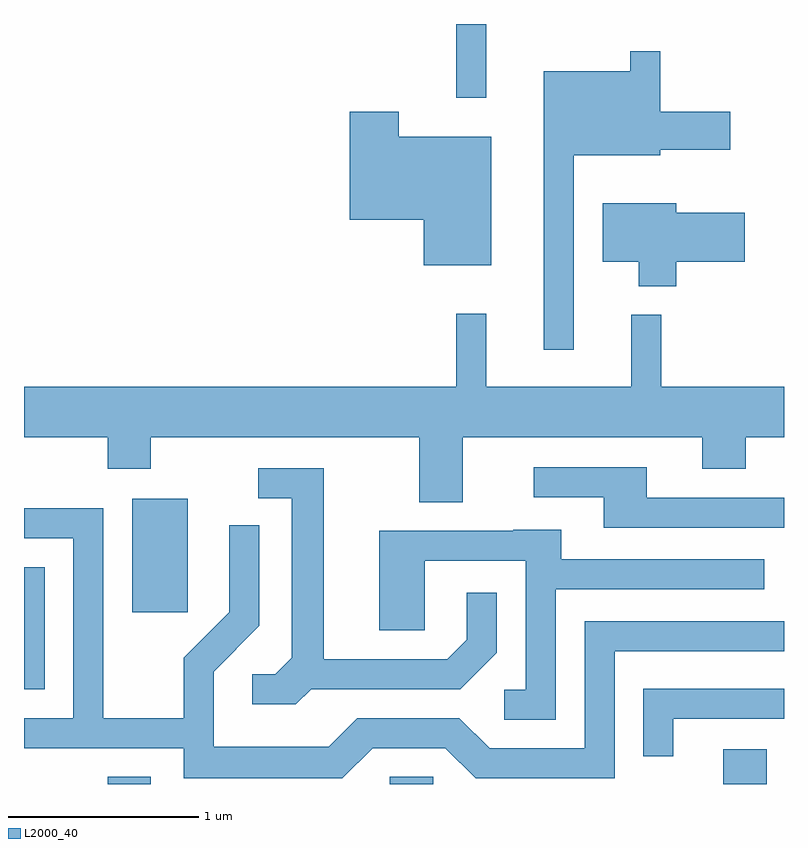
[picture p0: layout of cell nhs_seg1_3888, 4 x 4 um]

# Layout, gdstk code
import gdstk
lib = gdstk.Library(unit=1e-6, precision=1e-09)
def R(c, l, rs):  # rectangles x0, y0, x1, y1
    for r in rs: c.add(gdstk.rectangle(r[:2], r[2:], *l))
def P(c, l, *ps):  # polygons
    for p in ps: c.add(gdstk.Polygon(p, *l))
L2000_40 = (2000, 40)

nhs_seg1_3888 = lib.new_cell('nhs_seg1_3888')
R(nhs_seg1_3888, L2000_40, [(302.051,937.712,302.279,937.749), (303.536,937.712,303.764,937.749), (305.291,937.712,305.519,937.894), (301.611,938.211,301.719,938.854), (302.181,938.616,302.474,939.214), (303.886,941.323,304.044,941.712)])
P(nhs_seg1_3888, L2000_40, [(304.504,941.021),(304.959,941.021),(304.959,941.051),(305.329,941.051),(305.329,941.249),(304.959,941.249),(304.959,941.568),(304.801,941.568),(304.801,941.464),(304.346,941.464),(304.346,939.998),(304.504,939.998)],
  [(304.069,941.119),(303.584,941.119),(303.584,941.249),(303.326,941.249),(303.326,940.681),(303.716,940.681),(303.716,940.441),(304.069,940.441)],
  [(305.044,940.461),(305.404,940.461),(305.404,940.719),(305.044,940.719),(305.044,940.769),(304.656,940.769),(304.656,940.461),(304.846,940.461),(304.846,940.331),(305.044,940.331)],
  [(303.919,939.536),(305.181,939.536),(305.181,939.371),(305.409,939.371),(305.409,939.536),(305.611,939.536),(305.611,939.804),(304.964,939.804),(304.964,940.183),(304.806,940.183),(304.806,939.804),(304.044,939.804),(304.044,940.188),(303.886,940.188),(303.886,939.804),(301.611,939.804),(301.611,939.536),(302.051,939.536),(302.051,939.371),(302.279,939.371),(302.279,939.536),(303.691,939.536),(303.691,939.196),(303.919,939.196)],
  [(305.611,939.219),(304.889,939.219),(304.889,939.379),(304.293,939.379),(304.293,939.221),(304.661,939.221),(304.661,939.061),(305.611,939.061)],
  [(303.122,938.211),(303.907,938.211),(304.099,938.404),(304.099,938.718),(303.941,938.718),(303.941,938.472),(303.839,938.369),(303.189,938.369),(303.189,939.374),(302.843,939.374),(302.843,939.216),(303.021,939.216),(303.021,938.377),(302.934,938.289),(302.813,938.289),(302.813,938.131),(303.042,938.131)],
  [(303.447,937.901),(303.829,937.901),(303.989,937.741),(304.719,937.741),(304.719,938.411),(305.611,938.411),(305.611,938.569),(304.561,938.569),(304.561,937.899),(304.062,937.899),(303.902,938.059),(303.364,938.059),(303.214,937.909),(302.609,937.909),(302.609,938.304),(302.849,938.544),(302.849,939.073),(302.691,939.073),(302.691,938.617),(302.451,938.377),(302.451,938.059),(302.029,938.059),(302.029,939.164),(301.611,939.164),(301.611,939.006),(301.871,939.006),(301.871,938.059),(301.611,938.059),(301.611,937.901),(302.451,937.901),(302.451,937.741),(303.287,937.741)],
  [(304.409,938.736),(305.508,938.736),(305.508,938.894),(304.439,938.894),(304.439,939.049),(304.185,939.049),(304.185,939.044),(303.481,939.044),(303.481,938.521),(303.719,938.521),(303.719,938.886),(304.251,938.886),(304.251,938.209),(304.138,938.209),(304.138,938.051),(304.409,938.051)],
  [(305.029,938.056),(305.611,938.056),(305.611,938.214),(304.871,938.214),(304.871,937.858),(305.029,937.858)])

lib.write_gds('nhs_seg1_3888.gds')
